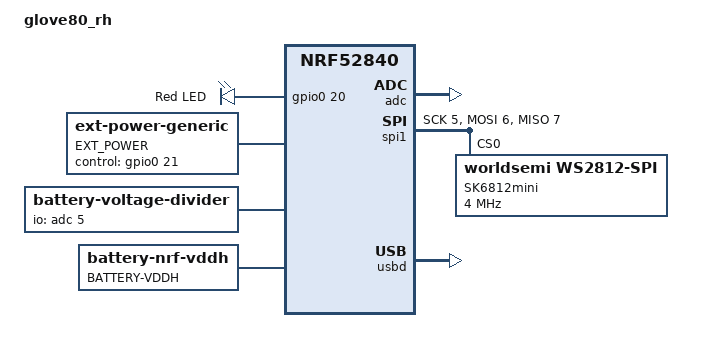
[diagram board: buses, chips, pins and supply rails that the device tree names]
/*
 * Copyright (c) 2021 The ZMK Contributors
 *
 * SPDX-License-Identifier: MIT
 */

/dts-v1/;
/*
 * Copyright (c) 2021 The ZMK Contributors
 *
 * SPDX-License-Identifier: MIT
 */

#include <nordic/nrf52840_qiaa.dtsi>

/ {
	model = "glove80_rh";
	compatible = "glove80_rh"; 

	chosen {
        zmk,underglow = &led_strip;	
		zephyr,code-partition = &code_partition;
		zephyr,sram = &sram0;
		zephyr,flash = &flash0;
	};

	leds {
		compatible = "gpio-leds";
		red_led: led_0 {
			gpios = <&gpio0 20 GPIO_ACTIVE_HIGH>;
			label = "Red LED";
		};
	};

	ext-power {
		compatible = "zmk,ext-power-generic";
		label = "EXT_POWER";
		control-gpios = <&gpio0 21 GPIO_ACTIVE_HIGH>; /**[SC] WS2812_CE */
		init-delay-ms = <10>;
	};

	vbatt-divider {
		compatible = "zmk,battery-voltage-divider";
		label = "BATTERY"; 
		io-channels = <&adc 5>; 
		output-ohms = <820000>; /** Double check that this is right */
		full-ohms = <(1500000 + 820000)>; 
	};	

	vbatt-vddh {
		compatible = "zmk,battery-nrf-vddh";
		label = "BATTERY-VDDH"; 
	};
};

&adc {
	status = "okay";
};

&gpiote {
	status = "okay";
};

&gpio0 {
	status = "okay";
};

&gpio1 {
	status = "okay";
};

&spi1 {
	compatible = "nordic,nrf-spim";
	/* Cannot be used together with i2c0. */
	status = "okay";
	mosi-pin = <6>;
	// Unused pins, needed for SPI definition, but not used by the ws2812 driver itself.
	sck-pin = <5>;
	miso-pin = <7>;

	led_strip: ws2812@0 {
		compatible = "worldsemi,ws2812-spi";
		label = "SK6812mini";

		/* SPI */
		reg = <0>; /* ignored, but necessary for SPI bindings */
		spi-max-frequency = <4000000>;

		/* WS2812 */
		chain-length = <6>; /* There are per-key RGB, but the first 6 are underglow */
		spi-one-frame = <0x70>;
		spi-zero-frame = <0x40>;
	};
};

/
// [SC] Not sure if this section is necessary
&uart0 {
	compatible = "nordic,nrf-uarte";
	tx-pin = <6>;
	rx-pin = <8>;
};

&usbd {
	status = "okay";
};


&flash0 {
	/*
	 * For more information, see:
	 * http://docs.zephyrproject.org/latest/devices/dts/flash_partitions.html
	 */
	partitions {
		compatible = "fixed-partitions";
		#address-cells = <1>;
		#size-cells = <1>;

		sd_partition: partition@0 {
			label = "softdevice";
			reg = <0x00000000 0x00026000>;
		};
		code_partition: partition@26000 {
			label = "code_partition";
			reg = <0x00026000 0x000c6000>;
		};

		/*
		 * The flash starting at 0x000ec000 and ending at
		 * 0x000f3fff is reserved for use by the application.
		 */

		/*
		 * Storage partition will be used by FCB/LittleFS/NVS
		 * if enabled.
		 */
		storage_partition: partition@ec000 {
			label = "storage";
			reg = <0x000ec000 0x00008000>;
		};

		boot_partition: partition@f4000 {
			label = "adafruit_boot";
			reg = <0x000f4000 0x0000c000>;
		};
	};
};


